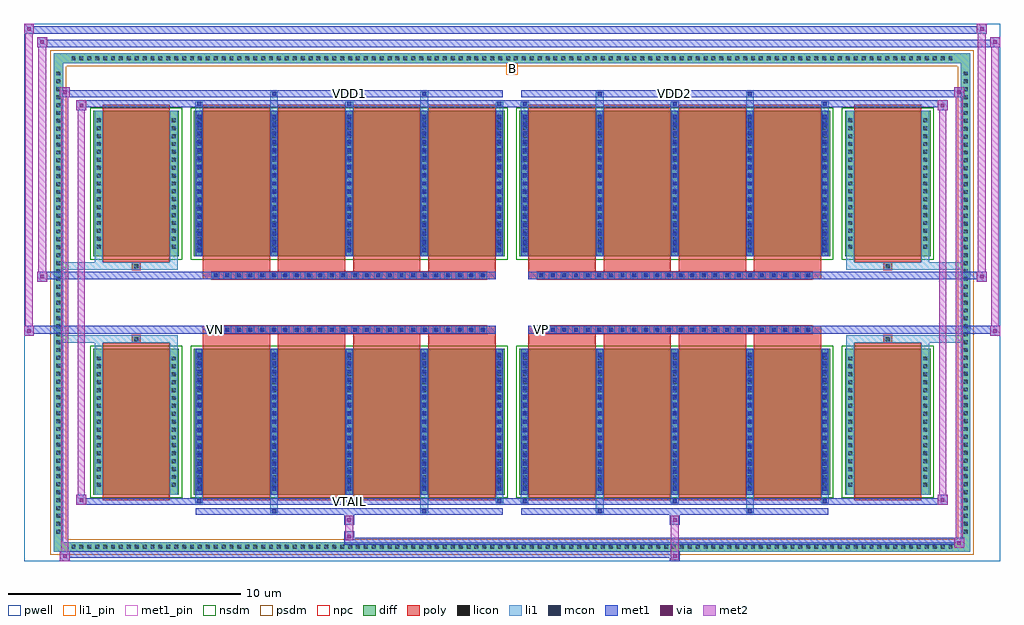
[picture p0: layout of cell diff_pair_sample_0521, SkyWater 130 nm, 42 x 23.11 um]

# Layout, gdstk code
import gdstk
lib = gdstk.Library(unit=1e-6, precision=5e-09)
def R(c, l, rs):  # rectangles x0, y0, x1, y1
    for r in rs: c.add(gdstk.rectangle(r[:2], r[2:], *l))
def A(c, l, x, y, w, h, nx, ny, dx, dy):  # array of equal rectangles
    R(c, l, [(x+i*dx, y+j*dy, x+i*dx+w, y+j*dy+h) for i in range(nx) for j in range(ny)])
def P(c, l, *ps):  # polygons
    for p in ps: c.add(gdstk.Polygon(p, *l))
pwell = (64, 44)
diff = (65, 20)
poly = (66, 20)
licon = (66, 44)
li1_pin = (67, 16)
li1 = (67, 20)
mcon = (67, 44)
met1_pin = (68, 16)
met1 = (68, 20)
via = (68, 44)
met2 = (69, 20)
nsdm = (93, 44)
psdm = (94, 20)
npc = (95, 20)

diff_pair_sample_0521 = lib.new_cell('diff_pair_sample_0521')
R(diff_pair_sample_0521, pwell, [(-21,-11.12,21,11.99), (-18.32,-9.31,-0.01,-0.805), (0.01,-9.31,18.32,-0.805), (-18.32,0.805,-0.01,9.31), (0.01,0.805,18.32,9.31)])
A(diff_pair_sample_0521, diff, -19.075, -10.72, 0.41, 0.41, 112, 2, 0.34, 21.03)
A(diff_pair_sample_0521, diff, -19.73, -10.065, 0.41, 0.41, 1, 59, 0, 0.34)
A(diff_pair_sample_0521, diff, 19.32, -10.065, 0.41, 0.41, 1, 59, 0, 0.34)
R(diff_pair_sample_0521, diff, [(-19.075,-10.72,19.075,-10.31), (-19.73,-10.065,-19.32,10.065), (19.32,-10.065,19.73,10.065), (-18.01,-8.265,-14.33,-1.985), (-13.69,-8.265,-0.32,-1.985), (0.32,-8.265,13.69,-1.985), (14.33,-8.265,18.01,-1.985), (-18.01,1.985,-14.33,8.265), (-13.69,1.985,-0.32,8.265), (0.32,1.985,13.69,8.265), (14.33,1.985,18.01,8.265), (-19.075,10.31,19.075,10.72)])
P(diff_pair_sample_0521, diff, [(19.73,10.72),(-19.73,10.72),(-19.73,-10.31),(-19.32,-10.31),(-19.32,10.31),(19.32,10.31),(19.32,-10.31),(-19.32,-10.31),(-19.73,-10.31),(-19.73,-10.72),(19.73,-10.72)])
A(diff_pair_sample_0521, poly, -13.3, -8.515, 2.9, 6.78, 4, 2, 3.23, 10.25)
A(diff_pair_sample_0521, poly, 0.71, -8.515, 2.9, 6.78, 4, 2, 3.23, 10.25)
A(diff_pair_sample_0521, poly, -13.3, -1.735, 2.9, 0.4, 4, 2, 3.23, 3.07)
A(diff_pair_sample_0521, poly, 0.71, -1.735, 2.9, 0.4, 4, 2, 3.23, 3.07)
A(diff_pair_sample_0521, poly, -12.92, -1.335, 0.33, 0.33, 24, 2, 0.5, 2.34)
A(diff_pair_sample_0521, poly, 1.09, -1.335, 0.33, 0.33, 24, 2, 0.5, 2.34)
R(diff_pair_sample_0521, poly, [(-17.62,-8.515,-14.72,-1.735), (14.72,-8.515,17.62,-1.735), (-16.335,-1.735,-16.005,-1.405), (-16.335,-1.735,-16.005,-1.405), (16.005,-1.735,16.335,-1.405), (16.005,-1.735,16.335,-1.405), (-13.3,-1.335,-0.71,-1.005), (0.71,-1.335,13.3,-1.005), (-13.3,1.005,-0.71,1.335), (0.71,1.005,13.3,1.335), (-16.335,1.405,-16.005,1.735), (-16.335,1.405,-16.005,1.735), (16.005,1.405,16.335,1.735), (16.005,1.405,16.335,1.735), (-17.62,1.735,-14.72,8.515), (14.72,1.735,17.62,8.515)])
A(diff_pair_sample_0521, licon, -18.955, -10.6, 0.17, 0.17, 112, 2, 0.34, 21.03)
A(diff_pair_sample_0521, licon, -19.61, -9.945, 0.17, 0.17, 1, 59, 0, 0.34)
A(diff_pair_sample_0521, licon, 19.44, -9.945, 0.17, 0.17, 1, 59, 0, 0.34)
A(diff_pair_sample_0521, licon, -17.87, -7.93, 0.17, 0.17, 1, 17, 0, 0.34)
A(diff_pair_sample_0521, licon, -14.64, -7.93, 0.17, 0.17, 1, 17, 0, 0.34)
A(diff_pair_sample_0521, licon, -13.55, -7.93, 0.17, 0.17, 5, 17, 3.23, 0.34)
A(diff_pair_sample_0521, licon, 0.46, -7.93, 0.17, 0.17, 5, 17, 3.23, 0.34)
A(diff_pair_sample_0521, licon, 14.47, -7.93, 0.17, 0.17, 1, 17, 0, 0.34)
A(diff_pair_sample_0521, licon, 17.7, -7.93, 0.17, 0.17, 1, 17, 0, 0.34)
A(diff_pair_sample_0521, licon, -12.84, -1.255, 0.17, 0.17, 24, 2, 0.5, 2.34)
A(diff_pair_sample_0521, licon, 1.17, -1.255, 0.17, 0.17, 24, 2, 0.5, 2.34)
A(diff_pair_sample_0521, licon, -17.87, 2.32, 0.17, 0.17, 1, 17, 0, 0.34)
A(diff_pair_sample_0521, licon, -14.64, 2.32, 0.17, 0.17, 1, 17, 0, 0.34)
A(diff_pair_sample_0521, licon, -13.55, 2.32, 0.17, 0.17, 5, 17, 3.23, 0.34)
A(diff_pair_sample_0521, licon, 0.46, 2.32, 0.17, 0.17, 5, 17, 3.23, 0.34)
A(diff_pair_sample_0521, licon, 14.47, 2.32, 0.17, 0.17, 1, 17, 0, 0.34)
A(diff_pair_sample_0521, licon, 17.7, 2.32, 0.17, 0.17, 1, 17, 0, 0.34)
R(diff_pair_sample_0521, licon, [(-16.255,-1.655,-16.085,-1.485), (16.085,-1.655,16.255,-1.485), (-16.255,1.485,-16.085,1.655), (16.085,1.485,16.255,1.655)])
R(diff_pair_sample_0521, li1_pin, [(-0.25,9.81,0.25,10.31)])
A(diff_pair_sample_0521, li1, -19.035, -10.68, 0.33, 0.33, 112, 2, 0.34, 21.03)
A(diff_pair_sample_0521, li1, -19.69, -10.025, 0.33, 0.33, 1, 59, 0, 0.34)
A(diff_pair_sample_0521, li1, 19.36, -10.025, 0.33, 0.33, 1, 59, 0, 0.34)
A(diff_pair_sample_0521, li1, -13.63, -8.64, 0.33, 0.375, 3, 2, 6.46, 16.905)
A(diff_pair_sample_0521, li1, -13.55, -8.64, 0.17, 0.17, 3, 2, 6.46, 17.11)
A(diff_pair_sample_0521, li1, 0.38, -8.64, 0.33, 0.375, 3, 2, 6.46, 16.905)
A(diff_pair_sample_0521, li1, 0.46, -8.64, 0.17, 0.17, 3, 2, 6.46, 17.11)
A(diff_pair_sample_0521, li1, -13.63, -8.265, 0.33, 6.28, 5, 2, 3.23, 10.25)
A(diff_pair_sample_0521, li1, 0.38, -8.265, 0.33, 6.28, 5, 2, 3.23, 10.25)
A(diff_pair_sample_0521, li1, -13.55, -8.09, 0.17, 0.17, 5, 17, 3.23, 0.36)
A(diff_pair_sample_0521, li1, -13.55, -8.09, 0.17, 5.93, 5, 2, 3.23, 10.25)
A(diff_pair_sample_0521, li1, 0.46, -8.09, 0.17, 0.17, 5, 17, 3.23, 0.36)
A(diff_pair_sample_0521, li1, 0.46, -8.09, 0.17, 5.93, 5, 2, 3.23, 10.25)
A(diff_pair_sample_0521, li1, -17.95, -8.01, 0.33, 0.33, 1, 17, 0, 0.34)
A(diff_pair_sample_0521, li1, -14.72, -8.01, 0.33, 0.33, 1, 17, 0, 0.34)
A(diff_pair_sample_0521, li1, -13.63, -8.01, 0.33, 0.33, 5, 17, 3.23, 0.34)
A(diff_pair_sample_0521, li1, 0.38, -8.01, 0.33, 0.33, 5, 17, 3.23, 0.34)
A(diff_pair_sample_0521, li1, 14.39, -8.01, 0.33, 0.33, 1, 17, 0, 0.34)
A(diff_pair_sample_0521, li1, 17.62, -8.01, 0.33, 0.33, 1, 17, 0, 0.34)
A(diff_pair_sample_0521, li1, -12.92, -1.335, 0.33, 0.33, 24, 2, 0.5, 2.34)
A(diff_pair_sample_0521, li1, 1.09, -1.335, 0.33, 0.33, 24, 2, 0.5, 2.34)
A(diff_pair_sample_0521, li1, -13.55, 2.16, 0.17, 0.17, 5, 17, 3.23, 0.36)
A(diff_pair_sample_0521, li1, 0.46, 2.16, 0.17, 0.17, 5, 17, 3.23, 0.36)
A(diff_pair_sample_0521, li1, -17.95, 2.24, 0.33, 0.33, 1, 17, 0, 0.34)
A(diff_pair_sample_0521, li1, -14.72, 2.24, 0.33, 0.33, 1, 17, 0, 0.34)
A(diff_pair_sample_0521, li1, -13.63, 2.24, 0.33, 0.33, 5, 17, 3.23, 0.34)
A(diff_pair_sample_0521, li1, 0.38, 2.24, 0.33, 0.33, 5, 17, 3.23, 0.34)
A(diff_pair_sample_0521, li1, 14.39, 2.24, 0.33, 0.33, 1, 17, 0, 0.34)
A(diff_pair_sample_0521, li1, 17.62, 2.24, 0.33, 0.33, 1, 17, 0, 0.34)
R(diff_pair_sample_0521, li1, [(-19.73,-10.72,-19.32,-10.31), (-19.73,-10.72,-19.32,-10.31), (-19.32,-10.72,19.32,-10.31), (19.32,-10.72,19.73,-10.31), (19.32,-10.72,19.73,-10.31), (-19.73,-10.31,-19.32,10.31), (19.32,-10.31,19.73,10.31), (-10.4,-9.07,-10.07,-8.265), (-10.32,-9.07,-10.15,-8.9), (-3.94,-9.07,-3.61,-8.265), (-3.86,-9.07,-3.69,-8.9), (3.61,-9.07,3.94,-8.265), (3.69,-9.07,3.86,-8.9), (10.07,-9.07,10.4,-8.265), (10.15,-9.07,10.32,-8.9), (-17.95,-8.265,-17.62,-1.985), (-14.72,-8.265,-14.39,-1.985), (14.39,-8.265,14.72,-1.985), (17.62,-8.265,17.95,-1.985), (-17.95,-1.985,-17.62,-1.405), (-14.72,-1.985,-14.39,-1.405), (14.39,-1.985,14.72,-1.405), (17.62,-1.985,17.95,-1.405), (-19.73,-1.735,-16.335,-1.405), (-17.95,-1.735,-16.335,-1.405), (-16.335,-1.735,-16.005,-1.405), (-16.005,-1.735,-14.39,-1.405), (14.39,-1.735,16.005,-1.405), (16.005,-1.735,16.335,-1.405), (16.005,-1.735,19.73,-1.405), (16.335,-1.735,17.95,-1.405), (-19.73,1.405,-16.335,1.735), (-17.95,1.405,-16.335,1.735), (-17.95,1.405,-17.62,1.985), (-16.335,1.405,-16.005,1.735), (-16.005,1.405,-14.39,1.735), (-14.72,1.405,-14.39,1.985), (14.39,1.405,16.005,1.735), (14.39,1.405,14.72,1.985), (16.005,1.405,16.335,1.735), (16.005,1.405,19.73,1.735), (16.335,1.405,17.95,1.735), (17.62,1.405,17.95,1.985), (-17.95,1.985,-17.62,8.265), (-14.72,1.985,-14.39,8.265), (14.39,1.985,14.72,8.265), (17.62,1.985,17.95,8.265), (-10.4,8.265,-10.07,9.07), (-3.94,8.265,-3.61,9.07), (3.61,8.265,3.94,9.07), (10.07,8.265,10.4,9.07), (-10.32,8.9,-10.15,9.07), (-3.86,8.9,-3.69,9.07), (3.69,8.9,3.86,9.07), (10.15,8.9,10.32,9.07), (-19.73,10.31,-19.32,10.72), (-19.73,10.31,-19.32,10.72), (-19.32,10.31,19.32,10.72), (19.32,10.31,19.73,10.72), (19.32,10.31,19.73,10.72)])
A(diff_pair_sample_0521, mcon, -13.55, -8.64, 0.17, 0.17, 3, 2, 6.46, 17.11)
A(diff_pair_sample_0521, mcon, 0.46, -8.64, 0.17, 0.17, 3, 2, 6.46, 17.11)
A(diff_pair_sample_0521, mcon, -13.55, -8.09, 0.17, 0.17, 5, 17, 3.23, 0.36)
A(diff_pair_sample_0521, mcon, 0.46, -8.09, 0.17, 0.17, 5, 17, 3.23, 0.36)
A(diff_pair_sample_0521, mcon, -12.84, -1.255, 0.17, 0.17, 24, 2, 0.5, 2.34)
A(diff_pair_sample_0521, mcon, 1.17, -1.255, 0.17, 0.17, 24, 2, 0.5, 2.34)
A(diff_pair_sample_0521, mcon, -13.55, 2.16, 0.17, 0.17, 5, 17, 3.23, 0.36)
A(diff_pair_sample_0521, mcon, 0.46, 2.16, 0.17, 0.17, 5, 17, 3.23, 0.36)
R(diff_pair_sample_0521, mcon, [(-10.32,-9.07,-10.15,-8.9), (-3.86,-9.07,-3.69,-8.9), (3.69,-9.07,3.86,-8.9), (10.15,-9.07,10.32,-8.9), (-10.32,8.9,-10.15,9.07), (-3.86,8.9,-3.69,9.07), (3.69,8.9,3.86,9.07), (10.15,8.9,10.32,9.07)])
R(diff_pair_sample_0521, met1_pin, [(-7.14,-8.68,-6.87,-8.41), (-12.89,-1.295,-12.62,-1.025), (1.12,-1.295,1.39,-1.025), (-7.14,8.86,-6.87,9.13), (6.87,8.86,7.14,9.13)])
A(diff_pair_sample_0521, met1, -13.61, -8.7, 0.29, 0.29, 3, 2, 6.46, 17.11)
A(diff_pair_sample_0521, met1, 0.4, -8.7, 0.29, 0.29, 3, 2, 6.46, 17.11)
A(diff_pair_sample_0521, met1, -13.61, -8.265, 0.29, 6.28, 5, 2, 3.23, 10.25)
A(diff_pair_sample_0521, met1, 0.4, -8.265, 0.29, 6.28, 5, 2, 3.23, 10.25)
A(diff_pair_sample_0521, met1, -13.61, -8.15, 0.29, 0.29, 5, 17, 3.23, 0.36)
A(diff_pair_sample_0521, met1, 0.4, -8.15, 0.29, 0.29, 5, 17, 3.23, 0.36)
A(diff_pair_sample_0521, met1, -12.9, -1.315, 0.29, 0.29, 24, 2, 0.5, 2.34)
A(diff_pair_sample_0521, met1, 1.11, -1.315, 0.29, 0.29, 24, 2, 0.5, 2.34)
A(diff_pair_sample_0521, met1, -13.61, 2.1, 0.29, 0.29, 5, 17, 3.23, 0.36)
A(diff_pair_sample_0521, met1, 0.4, 2.1, 0.29, 0.29, 5, 17, 3.23, 0.36)
R(diff_pair_sample_0521, met1, [(-19.46,-11.12,-19.03,-10.69), (6.79,-11.12,7.22,-10.69), (-19.46,-10.98,7.22,-10.69), (19.03,-10.55,19.46,-10.12), (-7.22,-10.41,19.46,-10.12), (-7.22,-10.27,-6.79,-9.84), (-7.22,-9.56,-6.79,-9.13), (6.79,-9.56,7.22,-9.13), (-13.61,-9.13,-0.4,-8.84), (-10.38,-9.13,-10.09,-8.84), (-3.92,-9.13,-3.63,-8.84), (0.4,-9.13,13.61,-8.84), (3.63,-9.13,3.92,-8.84), (10.09,-9.13,10.38,-8.84), (-18.75,-8.7,-18.32,-8.27), (-18.75,-8.7,-13.61,-8.41), (-13.61,-8.7,-0.4,-8.41), (-0.4,-8.7,0.4,-8.41), (0.4,-8.7,13.61,-8.41), (13.61,-8.7,18.75,-8.41), (18.32,-8.7,18.75,-8.27), (-21,-1.435,-20.57,-1.005), (20.57,-1.435,21,-1.005), (-21,-1.335,-0.71,-1.005), (-13.3,-1.335,-0.71,-1.005), (0.71,-1.335,13.3,-1.005), (0.71,-1.335,21,-1.005), (-20.43,0.905,-20,1.335), (20,0.905,20.43,1.335), (-20.43,1.005,-13.3,1.335), (-13.3,1.005,-0.71,1.335), (0.71,1.005,13.3,1.335), (13.3,1.005,20.43,1.335), (-18.75,8.27,-18.32,8.7), (18.32,8.27,18.75,8.7), (-18.75,8.41,-13.61,8.7), (-13.61,8.41,-0.4,8.7), (-0.4,8.41,0.4,8.7), (0.4,8.41,13.61,8.7), (13.61,8.41,18.75,8.7), (-19.46,8.84,-19.03,9.27), (-19.46,8.84,-13.61,9.13), (-13.61,8.84,-0.4,9.13), (-10.38,8.84,-10.09,9.13), (-3.92,8.84,-3.63,9.13), (0.4,8.84,13.61,9.13), (3.63,8.84,3.92,9.13), (10.09,8.84,10.38,9.13), (13.61,8.84,19.46,9.13), (19.03,8.84,19.46,9.27), (-20.43,10.99,-20,11.42), (-20.43,10.99,-18.32,11.32), (-18.32,10.99,18.32,11.32), (18.32,10.99,21,11.32), (20.57,10.99,21,11.42), (-21,11.56,-20.57,11.99), (-21,11.56,-18.32,11.89), (-18.32,11.56,18.32,11.89), (18.32,11.56,20.43,11.89), (20,11.56,20.43,11.99)])
R(diff_pair_sample_0521, via, [(-19.32,-10.98,-19.17,-10.83), (6.93,-10.98,7.08,-10.83), (19.17,-10.41,19.32,-10.26), (-7.08,-10.13,-6.93,-9.98), (-7.08,-9.42,-6.93,-9.27), (6.93,-9.42,7.08,-9.27), (-18.61,-8.56,-18.46,-8.41), (18.46,-8.56,18.61,-8.41), (-20.86,-1.295,-20.71,-1.145), (20.71,-1.295,20.86,-1.145), (-20.29,1.045,-20.14,1.195), (20.14,1.045,20.29,1.195), (-18.61,8.41,-18.46,8.56), (18.46,8.41,18.61,8.56), (-19.32,8.98,-19.17,9.13), (19.17,8.98,19.32,9.13), (-20.29,11.13,-20.14,11.28), (20.71,11.13,20.86,11.28), (-20.86,11.7,-20.71,11.85), (20.14,11.7,20.29,11.85)])
R(diff_pair_sample_0521, met2, [(-19.46,-11.12,-19.03,-10.69), (-19.39,-11.12,-19.1,9.27), (-19.1,-11.12,-19.03,-10.69), (-19.41,-11.07,-19.08,-10.74), (6.84,-11.07,7.17,-10.74), (6.84,-10.74,7.17,-9.51), (19.03,-10.55,19.46,-10.12), (19.1,-10.55,19.39,9.27), (19.39,-10.55,19.46,-10.12), (19.08,-10.5,19.41,-10.17), (-7.17,-10.22,-6.84,-9.89), (-7.17,-9.89,-6.84,-9.51), (-7.17,-9.51,-6.84,-9.18), (6.84,-9.51,7.17,-9.18), (-18.75,-8.7,-18.32,-8.27), (-18.68,-8.7,-18.39,8.7), (-18.39,-8.7,-18.32,-8.27), (18.32,-8.7,18.75,-8.27), (18.39,-8.7,18.68,8.7), (18.68,-8.7,18.75,-8.27), (-18.7,-8.65,-18.37,-8.32), (18.37,-8.65,18.7,-8.32), (-21,-1.435,-20.57,-1.005), (-20.95,-1.435,-20.62,11.99), (-20.62,-1.435,-20.57,-1.005), (20.57,-1.435,21,-1.005), (20.62,-1.435,20.95,11.42), (20.95,-1.435,21,-1.005), (-20.95,-1.385,-20.62,-1.055), (20.62,-1.385,20.95,-1.055), (-20.43,0.905,-20,1.335), (-20.38,0.905,-20.05,11.42), (-20.05,0.905,-20,1.335), (20,0.905,20.43,1.335), (20.05,0.905,20.38,11.99), (20.38,0.905,20.43,1.335), (-20.38,0.955,-20.05,1.285), (20.05,0.955,20.38,1.285), (-18.75,8.27,-18.32,8.7), (-18.39,8.27,-18.32,8.7), (18.32,8.27,18.75,8.7), (18.68,8.27,18.75,8.7), (-18.7,8.32,-18.37,8.65), (18.37,8.32,18.7,8.65), (-19.46,8.84,-19.03,9.27), (-19.1,8.84,-19.03,9.27), (19.03,8.84,19.46,9.27), (19.39,8.84,19.46,9.27), (-19.41,8.89,-19.08,9.22), (19.08,8.89,19.41,9.22), (-20.43,10.99,-20,11.42), (-20.05,10.99,-20,11.42), (20.57,10.99,21,11.42), (20.95,10.99,21,11.42), (-20.38,11.04,-20.05,11.37), (20.62,11.04,20.95,11.37), (-21,11.56,-20.57,11.99), (-20.62,11.56,-20.57,11.99), (20,11.56,20.43,11.99), (20.38,11.56,20.43,11.99), (-20.95,11.61,-20.62,11.94), (20.05,11.61,20.38,11.94)])
R(diff_pair_sample_0521, nsdm, [(-18.14,-8.395,-14.2,-1.855), (-13.82,-8.395,-0.19,-1.855), (0.19,-8.395,13.82,-1.855), (14.2,-8.395,18.14,-1.855), (-18.14,1.855,-14.2,8.395), (-13.82,1.855,-0.19,8.395), (0.19,1.855,13.82,8.395), (14.2,1.855,18.14,8.395)])
P(diff_pair_sample_0521, psdm, [(19.86,10.85),(-19.86,10.85),(-19.86,-10.18),(-19.19,-10.18),(-19.19,10.18),(19.19,10.18),(19.19,-10.18),(-19.19,-10.18),(-19.86,-10.18),(-19.86,-10.85),(19.86,-10.85)])
A(diff_pair_sample_0521, npc, -12.94, -1.355, 0.37, 0.37, 24, 2, 0.5, 2.34)
A(diff_pair_sample_0521, npc, 1.07, -1.355, 0.37, 0.37, 24, 2, 0.5, 2.34)
R(diff_pair_sample_0521, npc, [(-16.355,-1.755,-15.985,-1.385), (15.985,-1.755,16.355,-1.385), (-12.94,-1.355,-12.07,-0.985), (-12.94,-1.355,-12.07,-0.985), (-12.44,-1.355,-11.57,-0.985), (-12.44,-1.355,-11.57,-0.985), (-11.94,-1.355,-11.07,-0.985), (-11.94,-1.355,-11.07,-0.985), (-11.44,-1.355,-10.57,-0.985), (-11.44,-1.355,-10.57,-0.985), (-10.94,-1.355,-10.07,-0.985), (-10.94,-1.355,-10.07,-0.985), (-10.44,-1.355,-9.57,-0.985), (-10.44,-1.355,-9.57,-0.985), (-9.94,-1.355,-9.07,-0.985), (-9.94,-1.355,-9.07,-0.985), (-9.44,-1.355,-8.57,-0.985), (-9.44,-1.355,-8.57,-0.985), (-8.94,-1.355,-8.07,-0.985), (-8.94,-1.355,-8.07,-0.985), (-8.44,-1.355,-7.57,-0.985), (-8.44,-1.355,-7.57,-0.985), (-7.94,-1.355,-7.07,-0.985), (-7.94,-1.355,-7.07,-0.985), (-7.44,-1.355,-6.57,-0.985), (-7.44,-1.355,-6.57,-0.985), (-6.94,-1.355,-6.07,-0.985), (-6.94,-1.355,-6.07,-0.985), (-6.44,-1.355,-5.57,-0.985), (-6.44,-1.355,-5.57,-0.985), (-5.94,-1.355,-5.07,-0.985), (-5.94,-1.355,-5.07,-0.985), (-5.44,-1.355,-4.57,-0.985), (-5.44,-1.355,-4.57,-0.985), (-4.94,-1.355,-4.07,-0.985), (-4.94,-1.355,-4.07,-0.985), (-4.44,-1.355,-3.57,-0.985), (-4.44,-1.355,-3.57,-0.985), (-3.94,-1.355,-3.07,-0.985), (-3.94,-1.355,-3.07,-0.985), (-3.44,-1.355,-2.57,-0.985), (-3.44,-1.355,-2.57,-0.985), (-2.94,-1.355,-2.07,-0.985), (-2.94,-1.355,-2.07,-0.985), (-2.44,-1.355,-1.57,-0.985), (-2.44,-1.355,-1.57,-0.985), (-1.94,-1.355,-1.07,-0.985), (-1.94,-1.355,-1.07,-0.985), (1.07,-1.355,1.94,-0.985), (1.07,-1.355,1.94,-0.985), (1.57,-1.355,2.44,-0.985), (1.57,-1.355,2.44,-0.985), (2.07,-1.355,2.94,-0.985), (2.07,-1.355,2.94,-0.985), (2.57,-1.355,3.44,-0.985), (2.57,-1.355,3.44,-0.985), (3.07,-1.355,3.94,-0.985), (3.07,-1.355,3.94,-0.985), (3.57,-1.355,4.44,-0.985), (3.57,-1.355,4.44,-0.985), (4.07,-1.355,4.94,-0.985), (4.07,-1.355,4.94,-0.985), (4.57,-1.355,5.44,-0.985), (4.57,-1.355,5.44,-0.985), (5.07,-1.355,5.94,-0.985), (5.07,-1.355,5.94,-0.985), (5.57,-1.355,6.44,-0.985), (5.57,-1.355,6.44,-0.985), (6.07,-1.355,6.94,-0.985), (6.07,-1.355,6.94,-0.985), (6.57,-1.355,7.44,-0.985), (6.57,-1.355,7.44,-0.985), (7.07,-1.355,7.94,-0.985), (7.07,-1.355,7.94,-0.985), (7.57,-1.355,8.44,-0.985), (7.57,-1.355,8.44,-0.985), (8.07,-1.355,8.94,-0.985), (8.07,-1.355,8.94,-0.985), (8.57,-1.355,9.44,-0.985), (8.57,-1.355,9.44,-0.985), (9.07,-1.355,9.94,-0.985), (9.07,-1.355,9.94,-0.985), (9.57,-1.355,10.44,-0.985), (9.57,-1.355,10.44,-0.985), (10.07,-1.355,10.94,-0.985), (10.07,-1.355,10.94,-0.985), (10.57,-1.355,11.44,-0.985), (10.57,-1.355,11.44,-0.985), (11.07,-1.355,11.94,-0.985), (11.07,-1.355,11.94,-0.985), (11.57,-1.355,12.44,-0.985), (11.57,-1.355,12.44,-0.985), (12.07,-1.355,12.94,-0.985), (12.07,-1.355,12.94,-0.985), (-12.94,0.985,-12.07,1.355), (-12.94,0.985,-12.07,1.355), (-12.44,0.985,-11.57,1.355), (-12.44,0.985,-11.57,1.355), (-11.94,0.985,-11.07,1.355), (-11.94,0.985,-11.07,1.355), (-11.44,0.985,-10.57,1.355), (-11.44,0.985,-10.57,1.355), (-10.94,0.985,-10.07,1.355), (-10.94,0.985,-10.07,1.355), (-10.44,0.985,-9.57,1.355), (-10.44,0.985,-9.57,1.355), (-9.94,0.985,-9.07,1.355), (-9.94,0.985,-9.07,1.355), (-9.44,0.985,-8.57,1.355), (-9.44,0.985,-8.57,1.355), (-8.94,0.985,-8.07,1.355), (-8.94,0.985,-8.07,1.355), (-8.44,0.985,-7.57,1.355), (-8.44,0.985,-7.57,1.355), (-7.94,0.985,-7.07,1.355), (-7.94,0.985,-7.07,1.355), (-7.44,0.985,-6.57,1.355), (-7.44,0.985,-6.57,1.355), (-6.94,0.985,-6.07,1.355), (-6.94,0.985,-6.07,1.355), (-6.44,0.985,-5.57,1.355), (-6.44,0.985,-5.57,1.355), (-5.94,0.985,-5.07,1.355), (-5.94,0.985,-5.07,1.355), (-5.44,0.985,-4.57,1.355), (-5.44,0.985,-4.57,1.355), (-4.94,0.985,-4.07,1.355), (-4.94,0.985,-4.07,1.355), (-4.44,0.985,-3.57,1.355), (-4.44,0.985,-3.57,1.355), (-3.94,0.985,-3.07,1.355), (-3.94,0.985,-3.07,1.355), (-3.44,0.985,-2.57,1.355), (-3.44,0.985,-2.57,1.355), (-2.94,0.985,-2.07,1.355), (-2.94,0.985,-2.07,1.355), (-2.44,0.985,-1.57,1.355), (-2.44,0.985,-1.57,1.355), (-1.94,0.985,-1.07,1.355), (-1.94,0.985,-1.07,1.355), (1.07,0.985,1.94,1.355), (1.07,0.985,1.94,1.355), (1.57,0.985,2.44,1.355), (1.57,0.985,2.44,1.355), (2.07,0.985,2.94,1.355), (2.07,0.985,2.94,1.355), (2.57,0.985,3.44,1.355), (2.57,0.985,3.44,1.355), (3.07,0.985,3.94,1.355), (3.07,0.985,3.94,1.355), (3.57,0.985,4.44,1.355), (3.57,0.985,4.44,1.355), (4.07,0.985,4.94,1.355), (4.07,0.985,4.94,1.355), (4.57,0.985,5.44,1.355), (4.57,0.985,5.44,1.355), (5.07,0.985,5.94,1.355), (5.07,0.985,5.94,1.355), (5.57,0.985,6.44,1.355), (5.57,0.985,6.44,1.355), (6.07,0.985,6.94,1.355), (6.07,0.985,6.94,1.355), (6.57,0.985,7.44,1.355), (6.57,0.985,7.44,1.355), (7.07,0.985,7.94,1.355), (7.07,0.985,7.94,1.355), (7.57,0.985,8.44,1.355), (7.57,0.985,8.44,1.355), (8.07,0.985,8.94,1.355), (8.07,0.985,8.94,1.355), (8.57,0.985,9.44,1.355), (8.57,0.985,9.44,1.355), (9.07,0.985,9.94,1.355), (9.07,0.985,9.94,1.355), (9.57,0.985,10.44,1.355), (9.57,0.985,10.44,1.355), (10.07,0.985,10.94,1.355), (10.07,0.985,10.94,1.355), (10.57,0.985,11.44,1.355), (10.57,0.985,11.44,1.355), (11.07,0.985,11.94,1.355), (11.07,0.985,11.94,1.355), (11.57,0.985,12.44,1.355), (11.57,0.985,12.44,1.355), (12.07,0.985,12.94,1.355), (12.07,0.985,12.94,1.355), (-16.355,1.385,-15.985,1.755), (15.985,1.385,16.355,1.755)])
diff_pair_sample_0521.add(gdstk.Label('VTAIL', (-7.005,-8.545), layer=68, texttype=5))
diff_pair_sample_0521.add(gdstk.Label('VN', (-12.755,-1.16), layer=68, texttype=5))
diff_pair_sample_0521.add(gdstk.Label('VP', (1.255,-1.16), layer=68, texttype=5))
diff_pair_sample_0521.add(gdstk.Label('B', (0,10.06), layer=67, texttype=5))
diff_pair_sample_0521.add(gdstk.Label('VDD2', (7.005,8.995), layer=68, texttype=5))
diff_pair_sample_0521.add(gdstk.Label('VDD1', (-7.005,8.995), layer=68, texttype=5))

lib.write_gds('diff_pair_sample_0521.gds')
